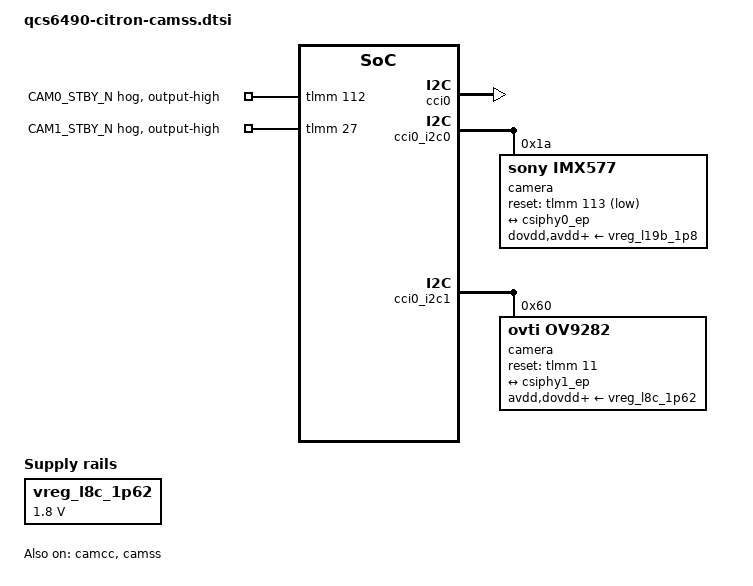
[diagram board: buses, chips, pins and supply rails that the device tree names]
// SPDX-License-Identifier: BSD-3-Clause
/*
 * Mainline CAMSS pipeline shared by every Citron carrier: IMX577 on CSI0 and
 * OV9282 on CSI1, both on cci0. IMX577 runs on the imx412 driver via the shared
 * "sony,imx577" match. Carriers that break out more CSI ports add them on top.
 *
 *   conn  sensor  CSIPHY  I2C bus            addr  MCLK  RST  STBY
 *   CSI0  IMX577  0       cci0_i2c0 (69/70)  0x1a  64    113  112
 *   CSI1  OV9282  1       cci0_i2c1 (71/72)  0x60  65    11   27
 */

/* Camera clock controller; disabled on the SOM (qcs6490-citron-som.dtsi). */
&camcc {
	status = "okay";
};

&camss {
	vdda-phy-supply = <&vreg_l10c_0p88>;
	vdda-pll-supply = <&vreg_l6b_1p2>;

	status = "okay";

	ports {
		#address-cells = <1>;
		#size-cells = <0>;

		port@0 {
			reg = <0>;

			csiphy0_ep: endpoint {
				clock-lanes = <7>;
				data-lanes = <0 1 2 3>;
				remote-endpoint = <&imx577_0_ep>;
			};
		};

		port@1 {
			reg = <1>;

			csiphy1_ep: endpoint {
				clock-lanes = <7>;
				data-lanes = <0 1>;
				remote-endpoint = <&ov9282_ep>;
			};
		};
	};
};

&cci0 {
	status = "okay";
};

&cci0_i2c0 {
	#address-cells = <1>;
	#size-cells = <0>;

	camera@1a {
		compatible = "sony,imx577";
		reg = <0x1a>;

		reset-gpios = <&tlmm 113 GPIO_ACTIVE_LOW>;
		pinctrl-names = "default", "suspend";
		pinctrl-0 = <&cam0_default>;
		pinctrl-1 = <&cam0_suspend>;

		clocks = <&camcc CAM_CC_MCLK0_CLK>;
		assigned-clocks = <&camcc CAM_CC_MCLK0_CLK>;
		assigned-clock-rates = <24000000>;

		/* Module self-regulates off one 1.8V rail. */
		dovdd-supply = <&vreg_l19b_1p8>;
		avdd-supply = <&vreg_l19b_1p8>;
		dvdd-supply = <&vreg_l19b_1p8>;

		port {
			imx577_0_ep: endpoint {
				link-frequencies = /bits/ 64 <600000000>;
				data-lanes = <1 2 3 4>;
				remote-endpoint = <&csiphy0_ep>;
			};
		};
	};
};

&cci0_i2c1 {
	#address-cells = <1>;
	#size-cells = <0>;

	camera@60 {
		compatible = "ovti,ov9282";
		reg = <0x60>;

		/* ov9282 releases reset by driving XCLR high, unlike most drivers. */
		reset-gpios = <&tlmm 11 GPIO_ACTIVE_HIGH>;
		pinctrl-names = "default", "suspend";
		pinctrl-0 = <&cam1_default>;
		pinctrl-1 = <&cam1_suspend>;

		clocks = <&camcc CAM_CC_MCLK1_CLK>;
		assigned-clocks = <&camcc CAM_CC_MCLK1_CLK>;
		assigned-clock-rates = <24000000>;

		/* Module self-regulates off one 1.8V rail. */
		avdd-supply = <&vreg_l8c_1p62>;
		dovdd-supply = <&vreg_l8c_1p62>;
		dvdd-supply = <&vreg_l8c_1p62>;

		port {
			ov9282_ep: endpoint {
				link-frequencies = /bits/ 64 <400000000>;
				data-lanes = <1 2>;
				remote-endpoint = <&csiphy1_ep>;
			};
		};
	};
};

&tlmm {
	cam0_default: cam0-default-state {
		mclk-pins {
			pins = "gpio64";
			function = "cam_mclk";
			drive-strength = <2>;
			bias-disable;
		};

		rst-pins {
			pins = "gpio113";
			function = "gpio";
			drive-strength = <2>;
			bias-disable;
		};
	};

	cam0_suspend: cam0-suspend-state {
		mclk-pins {
			pins = "gpio64";
			function = "cam_mclk";
			drive-strength = <2>;
			bias-pull-down;
		};

		rst-pins {
			pins = "gpio113";
			function = "gpio";
			drive-strength = <2>;
			bias-disable;
		};
	};

	/* No standby control on the module, so park STBY/PDN de-asserted. */
	cam0_pwdn_hog: cam0-pwdn-hog {
		gpio-hog;
		gpios = <112 GPIO_ACTIVE_HIGH>;
		output-high;
		line-name = "CAM0_STBY_N";
	};

	cam1_default: cam1-default-state {
		mclk-pins {
			pins = "gpio65";
			function = "cam_mclk";
			drive-strength = <2>;
			bias-disable;
		};

		rst-pins {
			pins = "gpio11";
			function = "gpio";
			drive-strength = <2>;
			bias-disable;
		};
	};

	cam1_suspend: cam1-suspend-state {
		mclk-pins {
			pins = "gpio65";
			function = "cam_mclk";
			drive-strength = <2>;
			bias-pull-down;
		};

		rst-pins {
			pins = "gpio11";
			function = "gpio";
			drive-strength = <2>;
			bias-disable;
		};
	};

	/* Likewise. */
	cam1_pwdn_hog: cam1-pwdn-hog {
		gpio-hog;
		gpios = <27 GPIO_ACTIVE_HIGH>;
		output-high;
		line-name = "CAM1_STBY_N";
	};
};

/* ov9282 enables L8C without setting a voltage; else it idles at its 1.62V floor. */
&vreg_l8c_1p62 {
	regulator-min-microvolt = <1800000>;
	regulator-max-microvolt = <1800000>;
};
